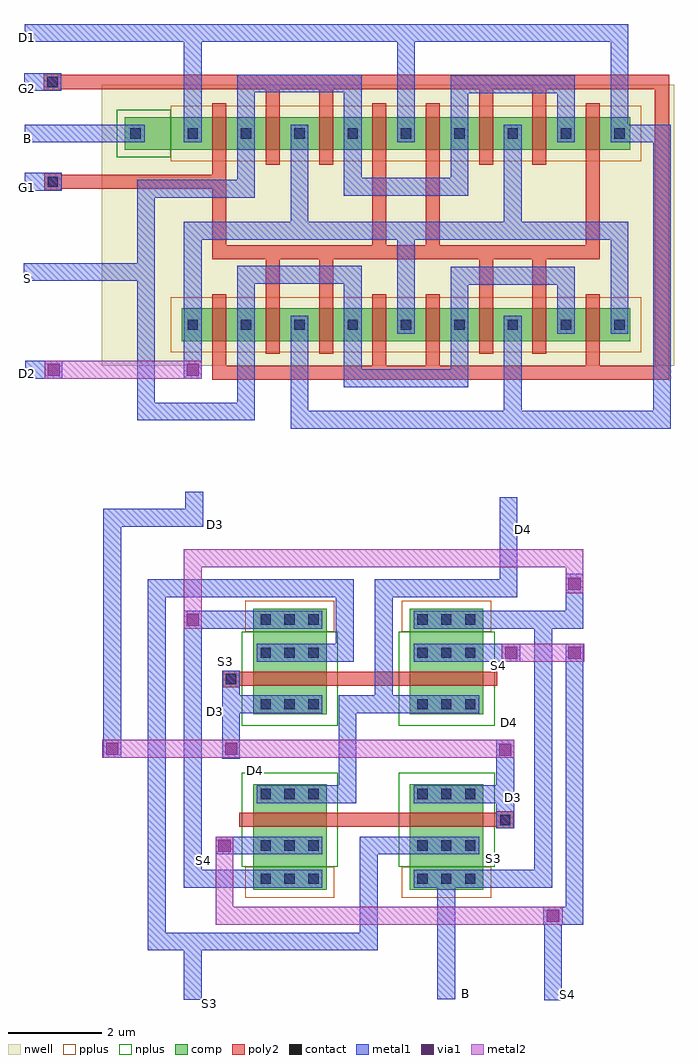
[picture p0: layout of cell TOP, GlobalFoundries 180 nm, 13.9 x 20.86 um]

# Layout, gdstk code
import gdstk
lib = gdstk.Library(unit=1e-6, precision=5e-09)
def R(c, l, rs):  # rectangles x0, y0, x1, y1
    for r in rs: c.add(gdstk.rectangle(r[:2], r[2:], *l))
def A(c, l, x, y, w, h, nx, ny, dx, dy):  # array of equal rectangles
    R(c, l, [(x+i*dx, y+j*dy, x+i*dx+w, y+j*dy+h) for i in range(nx) for j in range(ny)])
nwell = (21, 0)
comp = (22, 0)
poly2 = (30, 0)
pplus = (31, 0)
nplus = (32, 0)
contact = (33, 0)
metal1 = (34, 0)
via1 = (35, 0)
metal2 = (36, 0)

top = lib.new_cell('TOP')
R(top, nwell, [(-5.7,-2,6.53,4)])
R(top, comp, [(-2.47,-13.2,-0.9,-10.95), (0.88,-13.2,2.45,-10.95), (-2.47,-9.45,-0.9,-7.2), (0.88,-9.45,2.45,-7.2), (-3.99,-1.48,5.59,-0.78), (-5.21,2.61,5.59,3.31)])
R(top, poly2, [(2.74,-11.89,3.1,-11.53), (2.39,-11.855,2.69,-11.555), (2.69,-11.855,2.74,-11.555), (-3.12,-8.88,-2.76,-8.52), (-2.76,-8.845,-2.71,-8.545), (0.08,-2.19,0.38,-0.72), (1.22,-2.19,1.52,-0.72), (4.64,-2.19,4.94,-0.72), (-3.34,-2.12,-3.04,-0.72), (-2.2,-1.75,-1.9,-1.51), (-1.06,-1.75,-0.76,-1.51), (2.36,-1.75,2.66,-1.51), (3.5,-1.75,3.8,-1.51), (-2.2,-1.51,-1.9,0.38), (-1.06,-1.51,-0.76,0.38), (2.36,-1.51,2.66,0.38), (3.5,-1.51,3.8,0.38), (-3.34,-0.72,-3.04,-0.48), (0.08,-0.72,0.38,-0.48), (1.22,-0.72,1.52,-0.48), (4.64,-0.72,4.94,-0.48), (-3.34,0.67,-3.04,3.37), (0.08,0.67,0.38,3.37), (1.22,0.67,1.52,3.37), (4.64,0.67,4.94,3.37), (-6.93,1.75,-6.58,2.11), (-2.2,2.29,-1.9,2.53), (-1.06,2.29,-0.76,2.53), (2.36,2.29,2.66,2.53), (3.5,2.29,3.8,2.53), (-2.2,2.53,-1.9,4), (-1.06,2.53,-0.76,4), (2.36,2.53,2.66,4), (3.5,2.53,3.8,4), (-3.34,3.37,-3.04,3.61), (0.08,3.37,0.38,3.61), (1.22,3.37,1.52,3.61), (4.64,3.37,4.94,3.61), (-6.94,3.88,-6.59,4.24)])
R(top, pplus, [(-2.64,-13.37,-0.73,-12.71), (0.71,-13.37,2.62,-12.71), (-2.64,-7.69,-0.73,-7.03), (0.71,-7.69,2.62,-7.03), (-4.23,-1.72,5.83,-0.54), (-4.23,2.37,5.83,3.55)])
R(top, nplus, [(-2.71,-12.71,-0.66,-10.7), (0.64,-12.71,2.69,-10.7), (-2.71,-9.7,-0.66,-7.69), (0.64,-9.7,2.69,-7.69), (-5.38,2.45,-4.23,3.47)])
A(top, contact, -2.31, -13.08, 0.22, 0.22, 3, 2, 0.51, 0.71)
A(top, contact, 1.04, -13.08, 0.22, 0.22, 3, 2, 0.51, 0.71)
A(top, contact, -2.31, -8.25, 0.22, 0.22, 3, 2, 0.51, 0.71)
A(top, contact, 1.04, -8.25, 0.22, 0.22, 3, 2, 0.51, 0.71)
R(top, contact, [(2.81,-11.82,3.03,-11.6), (-2.31,-11.27,-2.09,-11.05), (-2.31,-11.27,-2.09,-11.05), (-1.8,-11.27,-1.58,-11.05), (-1.8,-11.27,-1.58,-11.05), (-1.29,-11.27,-1.07,-11.05), (-1.29,-11.27,-1.07,-11.05), (1.04,-11.27,1.26,-11.05), (1.04,-11.27,1.26,-11.05), (1.55,-11.27,1.77,-11.05), (1.55,-11.27,1.77,-11.05), (2.06,-11.27,2.28,-11.05), (2.06,-11.27,2.28,-11.05), (-2.31,-9.35,-2.09,-9.13), (-2.31,-9.35,-2.09,-9.13), (-1.8,-9.35,-1.58,-9.13), (-1.8,-9.35,-1.58,-9.13), (-1.29,-9.35,-1.07,-9.13), (-1.29,-9.35,-1.07,-9.13), (1.04,-9.35,1.26,-9.13), (1.04,-9.35,1.26,-9.13), (1.55,-9.35,1.77,-9.13), (1.55,-9.35,1.77,-9.13), (2.06,-9.35,2.28,-9.13), (2.06,-9.35,2.28,-9.13), (-3.05,-8.81,-2.83,-8.59), (-3.87,-1.24,-3.65,-1.02), (-2.73,-1.24,-2.51,-1.02), (-2.73,-1.24,-2.51,-1.02), (-1.59,-1.24,-1.37,-1.02), (-1.59,-1.24,-1.37,-1.02), (-0.45,-1.24,-0.23,-1.02), (-0.45,-1.24,-0.23,-1.02), (0.69,-1.24,0.91,-1.02), (0.69,-1.24,0.91,-1.02), (1.83,-1.24,2.05,-1.02), (1.83,-1.24,2.05,-1.02), (2.97,-1.24,3.19,-1.02), (2.97,-1.24,3.19,-1.02), (4.11,-1.24,4.33,-1.02), (4.11,-1.24,4.33,-1.02), (5.25,-1.24,5.47,-1.02), (5.25,-1.24,5.47,-1.02), (-6.86,1.82,-6.64,2.04), (-5.09,2.85,-4.87,3.07), (-3.87,2.85,-3.65,3.07), (-2.73,2.85,-2.51,3.07), (-2.73,2.85,-2.51,3.07), (-1.59,2.85,-1.37,3.07), (-1.59,2.85,-1.37,3.07), (-0.45,2.85,-0.23,3.07), (-0.45,2.85,-0.23,3.07), (0.69,2.85,0.91,3.07), (0.69,2.85,0.91,3.07), (1.83,2.85,2.05,3.07), (1.83,2.85,2.05,3.07), (2.97,2.85,3.19,3.07), (2.97,2.85,3.19,3.07), (4.11,2.85,4.33,3.07), (4.11,2.85,4.33,3.07), (5.25,2.85,5.47,3.07), (5.25,2.85,5.47,3.07), (-6.87,3.95,-6.65,4.17)])
R(top, metal1, [(-2.39,-13.16,-0.99,-12.78), (0.96,-13.16,2.36,-12.78), (-2.39,-12.45,-0.99,-12.07), (0.96,-12.45,2.36,-12.07), (-2.39,-11.35,-0.99,-10.97), (-2.39,-11.35,-0.99,-10.97), (0.96,-11.35,2.36,-10.97), (0.96,-11.35,2.36,-10.97), (-2.39,-9.43,-0.99,-9.05), (-2.39,-9.43,-0.99,-9.05), (0.96,-9.43,2.36,-9.05), (0.96,-9.43,2.36,-9.05), (-2.39,-8.33,-0.99,-7.95), (0.96,-8.33,2.36,-7.95), (-2.39,-7.62,-0.99,-7.24), (0.96,-7.62,2.36,-7.24), (-3.95,-2.28,-3.57,-0.94), (-3.95,-1.32,-3.57,-0.94), (-2.81,-1.32,-2.43,-0.94), (-2.81,-1.32,-2.43,-0.94), (-1.67,-1.32,-1.29,-0.94), (-1.67,-1.32,-1.29,-0.94), (-0.53,-1.32,-0.15,-0.94), (-0.53,-1.32,-0.15,-0.94), (0.61,-1.32,0.99,-0.94), (0.61,-1.32,0.99,-0.94), (1.75,-1.32,2.13,-0.94), (1.75,-1.32,2.13,-0.94), (2.89,-1.32,3.27,-0.94), (2.89,-1.32,3.27,-0.94), (4.03,-1.32,4.41,-0.94), (4.03,-1.32,4.41,-0.94), (5.17,-1.32,5.55,-0.94), (5.17,-1.32,5.55,-0.94), (-6.94,1.74,-6.56,2.12), (-5.17,2.77,-4.79,3.15), (-3.95,2.77,-3.57,3.15), (-2.81,2.77,-2.43,3.15), (-2.81,2.77,-2.43,3.15), (-1.67,2.77,-1.29,3.15), (-1.67,2.77,-1.29,3.15), (-0.53,2.77,-0.15,3.15), (-0.53,2.77,-0.15,3.15), (0.61,2.77,0.99,3.15), (0.61,2.77,0.99,3.15), (1.75,2.77,2.13,3.15), (1.75,2.77,2.13,3.15), (2.89,2.77,3.27,3.15), (2.89,2.77,3.27,3.15), (4.03,2.77,4.41,3.15), (4.03,2.77,4.41,3.15), (5.17,2.77,5.55,3.15), (5.17,2.77,5.55,3.15), (-6.95,3.87,-6.57,4.25)])
R(top, via1, [(3.81,-13.89,4.07,-13.63), (-3.21,-12.39,-2.95,-12.13), (2.79,-10.34,3.05,-10.08), (-5.61,-10.32,-5.35,-10.06), (-3.07,-10.32,-2.81,-10.06), (2.92,-8.27,3.18,-8.01), (4.27,-8.27,4.53,-8.01), (-3.89,-7.56,-3.63,-7.3), (4.27,-6.79,4.53,-6.53), (-6.86,-2.22,-6.6,-1.96), (-3.89,-2.22,-3.63,-1.96)])
R(top, metal2, [(3.73,-13.95,4.15,-13.57)])
top.add(gdstk.FlexPath([(-0.99,-8.14),(-0.51,-8.14),(-0.51,-6.76),(-4.53,-6.76),(-4.53,-14.31),(0,-14.31),(0,-12.26),(0.96,-12.26)], 0.38, ends="flush", simple_path=True, layer=34, datatype=0))  # metal1
top.add(gdstk.FlexPath([(2.92,-11.16),(2.92,-10)], 0.38, ends="flush", simple_path=True, layer=34, datatype=0))  # metal1
top.add(gdstk.FlexPath([(-2.94,-9.24),(-2.94,-10.4)], 0.38, ends="flush", simple_path=True, layer=34, datatype=0))  # metal1
top.add(gdstk.FlexPath([(2.99,-6.33),(2.99,-5.59)], 0.38, ends="flush", simple_path=True, layer=34, datatype=0))  # metal1
top.add(gdstk.FlexPath([(0.32,-8.33),(0.32,-9.05)], 0.38, ends="flush", simple_path=True, layer=34, datatype=0))  # metal1
top.add(gdstk.FlexPath([(0.32,-8.33),(0.32,-6.76),(2.99,-6.76),(2.99,-6.33)], 0.38, ends="flush", simple_path=True, layer=34, datatype=0))  # metal1
top.add(gdstk.FlexPath([(2.92,-11.89),(2.92,-11.16),(2.36,-11.16),(2.36,-11.16)], 0.38, ends="flush", simple_path=True, layer=34, datatype=0))  # metal1
top.add(gdstk.FlexPath([(-2.39,-7.43),(-3.76,-7.43),(-3.76,-12.97),(-2.39,-12.97)], 0.38, ends="flush", simple_path=True, layer=34, datatype=0))  # metal1
top.add(gdstk.FlexPath([(2.36,-7.43),(3.73,-7.43),(3.73,-12.97),(2.36,-12.97)], 0.38, ends="flush", simple_path=True, layer=34, datatype=0))  # metal1
top.add(gdstk.FlexPath([(-2.94,-8.52),(-2.94,-9.24),(-2.39,-9.24)], 0.38, ends="flush", simple_path=True, layer=34, datatype=0))  # metal1
top.add(gdstk.FlexPath([(-0.99,-11.16),(-0.45,-11.16),(-0.45,-9.24),(0.96,-9.24),(0.96,-9.24)], 0.38, ends="flush", simple_path=True, layer=34, datatype=0))  # metal1
top.add(gdstk.FlexPath([(-2.39,-12.26),(-3.27,-12.26)], 0.38, ends="flush", simple_path=True, layer=34, datatype=0))  # metal1
top.add(gdstk.FlexPath([(2.36,-8.14),(3.24,-8.14)], 0.38, ends="flush", simple_path=True, layer=34, datatype=0))  # metal1
top.add(gdstk.FlexPath([(3.92,-7.43),(4.4,-7.43),(4.4,-6.45)], 0.38, ends="flush", simple_path=True, layer=34, datatype=0))  # metal1
top.add(gdstk.FlexPath([(4.4,-7.95),(4.4,-13.76),(3.73,-13.76)], 0.38, ends="flush", simple_path=True, layer=34, datatype=0))  # metal1
top.add(gdstk.FlexPath([(-5.48,-10.38),(-5.48,-5.25),(-3.73,-5.25),(-3.73,-4.7)], 0.38, ends="flush", simple_path=True, layer=34, datatype=0))  # metal1
top.add(gdstk.FlexPath([(2.99,-5.59),(2.99,-4.81)], 0.38, ends="flush", simple_path=True, layer=34, datatype=0))  # metal1
top.add(gdstk.FlexPath([(1.66,-12.97),(1.66,-15.54)], 0.38, ends="flush", simple_path=True, layer=34, datatype=0))  # metal1
top.add(gdstk.FlexPath([(-3.76,-14.31),(-3.76,-15.55)], 0.38, ends="flush", simple_path=True, layer=34, datatype=0))  # metal1
top.add(gdstk.FlexPath([(3.94,-13.76),(3.94,-15.56)], 0.38, ends="flush", simple_path=True, layer=34, datatype=0))  # metal1
top.add(gdstk.FlexPath([(-6.76,4.06),(-7.36,4.06)], 0.38, ends="flush", simple_path=True, layer=34, datatype=0))  # metal1
top.add(gdstk.FlexPath([(-2.62,2.96),(-2.62,4.03),(-0.34,4.03),(-0.34,1.82),(1.94,1.82),(1.94,4.01),(4.22,4.01),(4.22,2.96),(4.22,2.96)], 0.38, ends="flush", simple_path=True, layer=34, datatype=0))  # metal1
top.add(gdstk.FlexPath([(-3.76,2.96),(-3.76,5.11),(0.8,5.11),(0.8,2.96),(0.8,2.96),(0.8,2.96),(0.8,2.96),(0.8,2.96)], 0.38, ends="flush", simple_path=True, layer=34, datatype=0))  # metal1
top.add(gdstk.FlexPath([(5.36,2.96),(5.36,5.11),(0.8,5.11)], 0.38, ends="flush", simple_path=True, layer=34, datatype=0))  # metal1
top.add(gdstk.FlexPath([(-3.76,5.11),(-6.88,5.11)], 0.38, ends="flush", simple_path=True, layer=34, datatype=0))  # metal1
top.add(gdstk.FlexPath([(-1.48,-1.13),(-1.48,-3.16),(3.08,-3.16),(3.08,-1.13)], 0.38, ends="flush", simple_path=True, layer=34, datatype=0))  # metal1
top.add(gdstk.FlexPath([(-2.62,-1.13),(-2.62,-0.06),(-0.34,-0.06),(-0.34,-2.27),(1.94,-2.27),(1.94,-0.08),(4.22,-0.08),(4.22,-1.13),(4.22,-1.13)], 0.38, ends="flush", simple_path=True, layer=34, datatype=0))  # metal1
top.add(gdstk.FlexPath([(3.08,2.96),(3.08,0.88),(-1.48,0.88),(-1.48,2.96)], 0.38, ends="flush", simple_path=True, layer=34, datatype=0))  # metal1
top.add(gdstk.FlexPath([(5.36,-1.13),(5.36,0.88),(3.08,0.88)], 0.38, ends="flush", simple_path=True, layer=34, datatype=0))  # metal1
top.add(gdstk.FlexPath([(-3.76,-1.13),(-3.76,0.88),(-1.48,0.88),(-1.48,0.88),(-1.48,0.88)], 0.38, ends="flush", simple_path=True, layer=34, datatype=0))  # metal1
top.add(gdstk.FlexPath([(3.08,-3.16),(6.27,-3.16),(6.27,2.96),(5.36,2.96)], 0.38, ends="flush", simple_path=True, layer=34, datatype=0))  # metal1
top.add(gdstk.FlexPath([(-2.62,2.96),(-2.62,1.78),(-4.76,1.78),(-4.76,-2.98),(-2.62,-2.98),(-2.62,-1.13),(-2.62,-1.13),(-2.62,-1.13)], 0.38, ends="flush", simple_path=True, layer=34, datatype=0))  # metal1
top.add(gdstk.FlexPath([(0.8,-1.13),(0.8,0.88)], 0.38, ends="flush", simple_path=True, layer=34, datatype=0))  # metal1
top.add(gdstk.FlexPath([(-6.55,-2.09),(-7.34,-2.09)], 0.38, ends="flush", simple_path=True, layer=34, datatype=0))  # metal1
top.add(gdstk.FlexPath([(-6.75,1.93),(-7.35,1.93)], 0.38, ends="flush", simple_path=True, layer=34, datatype=0))  # metal1
top.add(gdstk.FlexPath([(-6.75,5.11),(-7.35,5.11)], 0.38, ends="flush", simple_path=True, layer=34, datatype=0))  # metal1
top.add(gdstk.FlexPath([(-4.98,2.96),(-7.35,2.96)], 0.38, ends="flush", simple_path=True, layer=34, datatype=0))  # metal1
top.add(gdstk.FlexPath([(-4.76,0),(-7.37,0)], 0.38, ends="flush", simple_path=True, layer=34, datatype=0))  # metal1
top.add(gdstk.FlexPath([(-2.71,-11.705),(2.39,-11.705)], 0.3, ends="flush", simple_path=True, layer=30, datatype=0))  # poly2
top.add(gdstk.FlexPath([(-2.71,-8.695),(2.39,-8.695)], 0.3, ends="flush", simple_path=True, layer=30, datatype=0))  # poly2
top.add(gdstk.FlexPath([(2.39,-8.695),(2.75,-8.695)], 0.3, ends="flush", simple_path=True, layer=30, datatype=0))  # poly2
top.add(gdstk.FlexPath([(-2.71,-11.705),(-2.77,-11.705)], 0.3, ends="flush", simple_path=True, layer=30, datatype=0))  # poly2
top.add(gdstk.FlexPath([(-6.91,4.06),(-3.2,4.06)], 0.3, ends="flush", simple_path=True, layer=30, datatype=0))  # poly2
top.add(gdstk.FlexPath([(-3.2,4.06),(6.27,4.06),(6.27,-2.15),(-3.34,-2.15),(-3.34,-2.15)], 0.3, ends="flush", simple_path=True, layer=30, datatype=0))  # poly2
top.add(gdstk.FlexPath([(1.37,2.55),(1.37,0.42)], 0.3, ends="flush", simple_path=True, layer=30, datatype=0))  # poly2
top.add(gdstk.FlexPath([(0.23,2.55),(0.23,0.42)], 0.3, ends="flush", simple_path=True, layer=30, datatype=0))  # poly2
top.add(gdstk.FlexPath([(-3.19,2.55),(-3.19,0.42),(4.79,0.42),(4.79,2.55),(4.79,2.55)], 0.3, ends="flush", simple_path=True, layer=30, datatype=0))  # poly2
top.add(gdstk.FlexPath([(-6.9,1.93),(-3.19,1.93)], 0.3, ends="flush", simple_path=True, layer=30, datatype=0))  # poly2
top.add(gdstk.FlexPath([(-3.13,-10.19),(3.11,-10.19)], 0.38, ends="flush", simple_path=True, layer=36, datatype=0))  # metal2
top.add(gdstk.FlexPath([(-3.76,-7.62),(-3.76,-6.12)], 0.38, ends="flush", simple_path=True, layer=36, datatype=0))  # metal2
top.add(gdstk.FlexPath([(-3.13,-10.19),(-5.69,-10.19)], 0.38, ends="flush", simple_path=True, layer=36, datatype=0))  # metal2
top.add(gdstk.FlexPath([(2.84,-8.14),(4.61,-8.14)], 0.38, ends="flush", simple_path=True, layer=36, datatype=0))  # metal2
top.add(gdstk.FlexPath([(-3.95,-6.12),(4.4,-6.12),(4.4,-6.87)], 0.38, ends="flush", simple_path=True, layer=36, datatype=0))  # metal2
top.add(gdstk.FlexPath([(-3.08,-12.07),(-3.08,-13.76),(3.73,-13.76)], 0.38, ends="flush", simple_path=True, layer=36, datatype=0))  # metal2
top.add(gdstk.FlexPath([(-3.57,-2.09),(-6.92,-2.09)], 0.38, ends="flush", simple_path=True, layer=36, datatype=0))  # metal2
top.add(gdstk.Label('S3', (2.67,-12.54), layer=34, texttype=10))
top.add(gdstk.Label('D3', (3.1,-11.23), layer=34, texttype=10))
top.add(gdstk.Label('S4', (2.78,-8.42), layer=34, texttype=10))
top.add(gdstk.Label('D4', (3,-9.62), layer=34, texttype=10))
top.add(gdstk.Label('D3', (-3.28,-9.39), layer=34, texttype=10))
top.add(gdstk.Label('S3', (-3.05,-8.32), layer=34, texttype=10))
top.add(gdstk.Label('S4', (-3.52,-12.58), layer=34, texttype=10))
top.add(gdstk.Label('D4', (-2.41,-10.65), layer=34, texttype=10))
top.add(gdstk.Label('D3', (-3.28,-5.4), layer=34, texttype=10))
top.add(gdstk.Label('D4', (3.3,-5.51), layer=34, texttype=10))
top.add(gdstk.Label('B', (2.06,-15.43), layer=34, texttype=10))
top.add(gdstk.Label('S4', (4.25,-15.44), layer=34, texttype=10))
top.add(gdstk.Label('S3', (-3.41,-15.63), layer=34, texttype=10))
top.add(gdstk.Label('D1', (-7.29,5.02), layer=34, texttype=10))
top.add(gdstk.Label('G2', (-7.3,3.93), layer=34, texttype=10))
top.add(gdstk.Label('G1', (-7.3,1.81), layer=34, texttype=10))
top.add(gdstk.Label('D2', (-7.29,-2.17), layer=34, texttype=10))
top.add(gdstk.Label('S', (-7.3,-0.15), layer=34, texttype=10))
top.add(gdstk.Label('B', (-7.3,2.86), layer=34, texttype=10))

lib.write_gds('TOP.gds')
